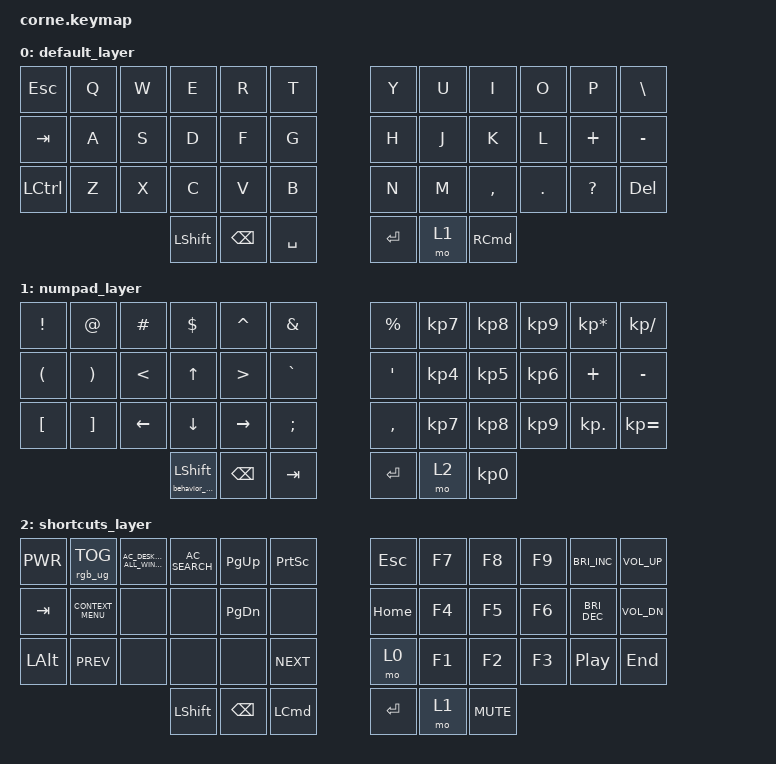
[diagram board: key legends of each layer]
/*
 * Copyright (c) 2020 The ZMK Contributors
 *
 * SPDX-License-Identifier: MIT
 */

#include <zmk/battery.h>
#include <zmk/display.h>
#include <zmk/events/layer_state_changed.h>
#include <zmk/keys.h>
#include <zmk/keymap.h>
#include <behaviors.dtsi>
#include <dt-bindings/zmk/keys.h>
#include <dt-bindings/zmk/rgb.h>

// Define the custom key behavior for capturing a screen portion

#define KC_CPYP LGUI(LSFT(LCTL(KC_4)))  // Copy portion of screen

behavior_cmd_sticky: sticky_cmd {
    compatible = "zmk,behavior-sticky-key";
    label = "CMD Sticky";
    bindings = <&kp LGUI>;
};

behavior_shift_sticky: sticky_shift {
    compatible = "zmk,behavior-sticky-key";
    label = "Shift Sticky";
    bindings = <&kp LSHIFT>;
};

/ {
    behaviors {
    };

    keymap {
        compatible = "zmk,keymap";

        // Layer 0: Base Layer

        default_layer {
            bindings = <
&kp ESC    &kp Q  &kp W  &kp E           &kp R     &kp T        &kp Y      &kp U  &kp I              &kp O    &kp P      &kp BACKSLASH
&kp TAB    &kp A  &kp S  &kp D           &kp F     &kp G        &kp H      &kp J  &kp K              &kp L    &kp PLUS   &kp MINUS
&kp LCTRL  &kp Z  &kp X  &kp C           &kp V     &kp B        &kp N      &kp M  &kp COMMA          &kp DOT  &kp QMARK  &kp DEL
                         &kp LEFT_SHIFT  &kp BSPC  &kp SPACE    &kp ENTER  &mo 1  &kp RIGHT_COMMAND
            >;
        };

        // Layer 1: Numpad Layer

        numpad_layer {
            bindings = <
&kp EXCL  &kp AT    &kp HASH  &kp DOLLAR                         &kp CARET  &kp AMPS     &kp PRCNT  &kp KP_N7        &kp KP_N8        &kp KP_N9  &kp KP_MULTIPLY  &kp KP_DIVIDE
&kp LPAR  &kp RPAR  &kp LT    &kp UP                             &kp GT     &kp GRAVE    &kp APOS   &kp KP_NUMBER_4  &kp KP_NUMBER_5  &kp KP_N6  &kp PLUS         &kp MINUS
&kp LBKT  &kp RBKT  &kp LEFT  &kp DOWN                           &kp RIGHT  &kp SEMI     &kp COMMA  &kp KP_NUMBER_7  &kp KP_N8        &kp KP_N9  &kp KP_DOT       &kp KP_EQUAL
                              &behavior_shift_sticky LEFT_SHIFT  &kp BSPC   &kp TAB      &kp ENTER  &mo 2            &kp KP_N0
            >;
        };

        // Layer 2: Shortcuts Layer

        shortcuts_layer {
            bindings = <
&kp C_PWR     &rgb_ug RGB_TOG     &kp C_AC_DESKTOP_SHOW_ALL_WINDOWS  &kp C_AC_SEARCH  &kp PAGE_UP    &kp PSCRN           &kp ESC    &kp F7  &kp F8      &kp F9  &kp C_BRIGHTNESS_INC  &kp C_VOL_UP
&kp TAB       &kp K_CONTEXT_MENU  &none                              &none            &kp PAGE_DOWN  &none               &kp HOME   &kp F4  &kp F5      &kp F6  &kp C_BRIGHTNESS_DEC  &kp C_VOL_DN
&kp LEFT_ALT  &kp C_PREV          &none                              &none            &none          &kp C_NEXT          &mo 0      &kp F1  &kp F2      &kp F3  &kp C_PLAY_PAUSE      &kp END
                                                                     &kp LEFT_SHIFT   &kp BSPC       &kp LEFT_COMMAND    &kp ENTER  &mo 1   &kp C_MUTE
            >;
        };
    };
};
